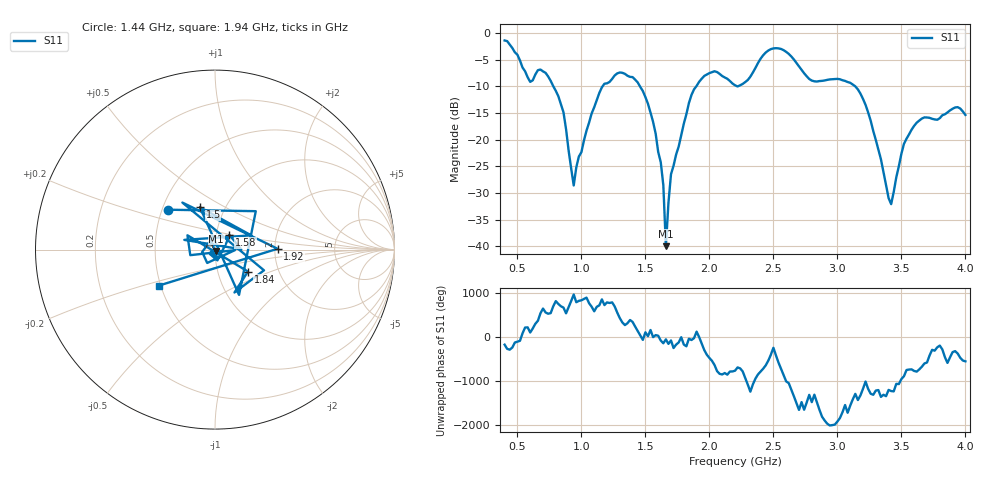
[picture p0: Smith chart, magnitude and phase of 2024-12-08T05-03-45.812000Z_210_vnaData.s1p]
!Created with skrf (http://scikit-rf.org).
# Hz S RI R 50.0
!freq ReS11 ImS11
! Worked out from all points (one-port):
!   181 points, 400 MHz to 4 GHz, reference 50 ohm
!   lowest |S11| = -39.9 dB at 1.66 GHz (marker M1), VSWR 1.02, Z = 50.6 - j0.78 ohm
!   |S11| at or under -10 dB: 780.7 MHz to 1.166 GHz (384.9 MHz wide, 39.6 % of centre); 1.457 GHz to 1.898 GHz (440.4 MHz wide, 26.3 % of centre); 3.139 GHz to end of sweep (the widest 3 of 4)
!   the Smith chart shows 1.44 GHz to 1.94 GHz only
!   S11 on the Smith chart (normalised r, x): 1.44 GHz: 0.54, +0.27; 1.5 GHz: 0.76, +0.38; 1.58 GHz: 1.16, +0.19; 1.84 GHz: 1.40, -0.36; 1.92 GHz: 2.07, +0.02; 1.94 GHz: 0.49, -0.23
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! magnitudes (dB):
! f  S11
! 400 MHz  -1.4
! 600 MHz  -9.2
! 720 MHz  -7.5
! 860 MHz  -14.9
! 940 MHz  -28.6
! 1.14 GHz  -11.2
! 1.3 GHz  -7.4
! 1.44 GHz  -9.3
! 1.5 GHz  -12.0
! 1.58 GHz  -18.8
! 1.64 GHz  -28.5
! 1.66 GHz  -39.9
! 1.7 GHz  -26.5
! 1.76 GHz  -21.3
! 1.84 GHz  -13.1
! 1.92 GHz  -9.2
! 1.94 GHz  -8.6
! 2.2 GHz  -9.8
! 2.48 GHz  -3.0
! 2.66 GHz  -5.0
! 2.8 GHz  -8.9
! 3.1 GHz  -9.3
! 3.24 GHz  -14.9
! 3.42 GHz  -32.1
! 3.5 GHz  -22.6
! 3.56 GHz  -19.0
! 3.68 GHz  -15.8
! 4 GHz  -15.4
